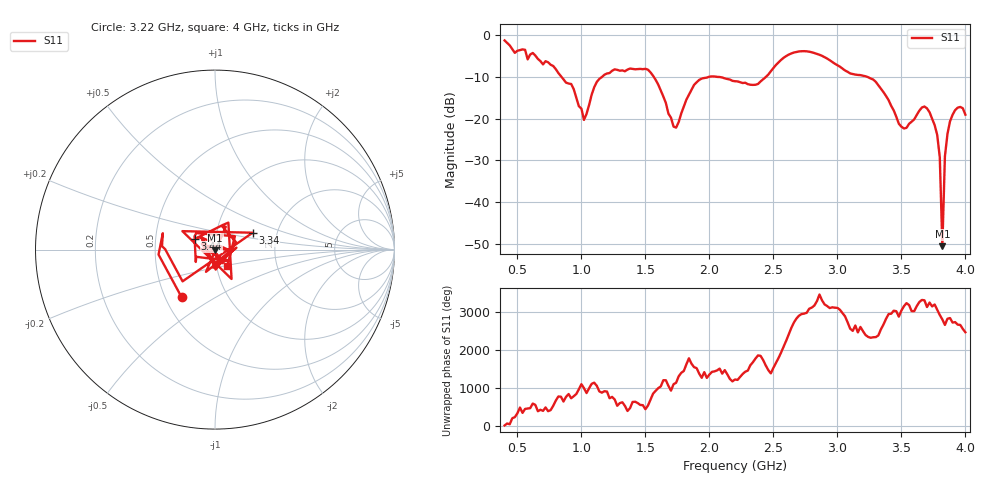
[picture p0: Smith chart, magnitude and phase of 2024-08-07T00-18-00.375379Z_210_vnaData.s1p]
!Created with skrf (http://scikit-rf.org).
# Hz S RI R 50.0
!freq ReS11 ImS11
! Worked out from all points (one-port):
!   181 points, 400 MHz to 4 GHz, reference 50 ohm
!   lowest |S11| = -50.6 dB at 3.82 GHz (marker M1), VSWR 1.01, Z = 50.1 - j0.289 ohm
!   |S11| at or under -10 dB: 1.567 GHz to 1.99 GHz (422.8 MHz wide, 23.8 % of centre); 2.086 GHz to 2.44 GHz (353.4 MHz wide, 15.6 % of centre); 3.239 GHz to end of sweep (the widest 3 of 4)
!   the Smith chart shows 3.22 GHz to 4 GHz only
!   S11 on the Smith chart (normalised r, x): 3.22 GHz: 0.61, -0.36; 3.34 GHz: 1.50, +0.30; 3.44 GHz: 0.79, +0.10; 4 GHz: 1.13, -0.20
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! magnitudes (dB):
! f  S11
! 400 MHz  -1.2
! 860 MHz  -10.5
! 920 MHz  -11.6
! 1.02 GHz  -20.3
! 1.12 GHz  -11.2
! 1.3 GHz  -8.5
! 1.52 GHz  -8.2
! 1.6 GHz  -11.8
! 1.72 GHz  -21.9
! 1.76 GHz  -20.8
! 1.92 GHz  -10.7
! 2.2 GHz  -11.0
! 2.38 GHz  -11.6
! 2.66 GHz  -4.1
! 3.1 GHz  -9.1
! 3.22 GHz  -9.8
! 3.34 GHz  -12.8
! 3.44 GHz  -18.0
! 3.5 GHz  -21.9
! 3.56 GHz  -21.2
! 3.68 GHz  -17.0
! 3.76 GHz  -21.5
! 3.8 GHz  -29.3
! 3.82 GHz  -50.6
! 3.84 GHz  -29.0
! 3.86 GHz  -23.6
! 3.92 GHz  -17.9
! 4 GHz  -19.0
